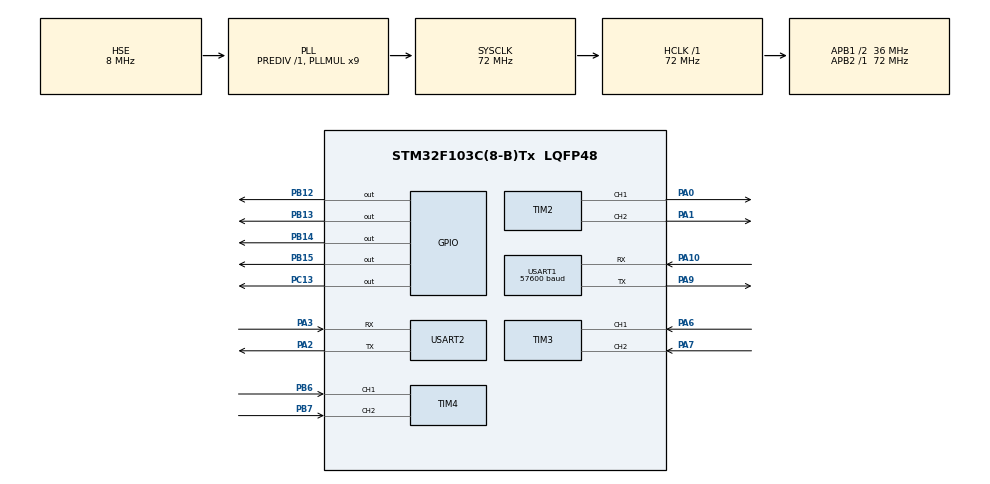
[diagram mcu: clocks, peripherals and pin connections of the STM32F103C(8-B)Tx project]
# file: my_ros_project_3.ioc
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Dma.Request0=USART1_RX
Dma.Request1=USART1_TX
Dma.USART1_RX.0.Direction=DMA_PERIPH_TO_MEMORY
Dma.USART1_RX.0.Instance=DMA1_Channel5
Dma.USART1_RX.0.MemDataAlignment=DMA_MDATAALIGN_BYTE
Dma.USART1_RX.0.MemInc=DMA_MINC_ENABLE
Dma.USART1_RX.0.Mode=DMA_NORMAL
Dma.USART1_RX.0.PeriphDataAlignment=DMA_PDATAALIGN_BYTE
Dma.USART1_RX.0.PeriphInc=DMA_PINC_DISABLE
Dma.USART1_RX.0.Priority=DMA_PRIORITY_LOW
Dma.USART1_TX.1.Direction=DMA_MEMORY_TO_PERIPH
Dma.USART1_TX.1.Instance=DMA1_Channel4
Dma.USART1_TX.1.MemDataAlignment=DMA_MDATAALIGN_BYTE
Dma.USART1_TX.1.MemInc=DMA_MINC_ENABLE
Dma.USART1_TX.1.Mode=DMA_NORMAL
Dma.USART1_TX.1.PeriphDataAlignment=DMA_PDATAALIGN_BYTE
Dma.USART1_TX.1.PeriphInc=DMA_PINC_DISABLE
Dma.USART1_TX.1.Priority=DMA_PRIORITY_LOW
FREERTOS.Tasks01=defaultROSTask,0,128,StartDefaultTask,Default,NULL,Dynamic,NULL,NULL
FREERTOS.Timers01=myPIDTimer01,Callback01,osTimerPeriodic,Default,NULL,Dynamic,NULL;myROSTimer02,Callback02,osTimerPeriodic,Default,NULL,Dynamic,NULL
FREERTOS.configTIMER_TASK_PRIORITY=6
FREERTOS.configUSE_NEWLIB_REENTRANT=0
FREERTOS.configUSE_TIMERS=1
Mcu.Family=STM32F1
Mcu.Name=STM32F103C(8-B)Tx
Mcu.Package=LQFP48
NVIC.DMA1_Channel4_IRQn=true\:5\:0\:false\:false\:true\:true\:false\:true\:true
NVIC.DMA1_Channel5_IRQn=true\:5\:0\:false\:false\:true\:true\:false\:true\:true
NVIC.PriorityGroup=NVIC_PRIORITYGROUP_4
NVIC.TIM1_UP_IRQn=true\:15\:0\:false\:false\:true\:false\:false\:true\:true
NVIC.TimeBase=TIM1_UP_IRQn
NVIC.TimeBaseIP=TIM1
NVIC.USART1_IRQn=true\:5\:0\:false\:false\:true\:true\:true\:true\:true
PA0-WKUP.Signal=S_TIM2_CH1_ETR
PA1.Signal=S_TIM2_CH2
PA10.Mode=Asynchronous
PA10.Signal=USART1_RX
PA13.Mode=Serial_Wire
PA13.Signal=SYS_JTMS-SWDIO
PA14.Mode=Serial_Wire
PA14.Signal=SYS_JTCK-SWCLK
PA2.Mode=Asynchronous
PA2.Signal=USART2_TX
PA3.Mode=Asynchronous
PA3.Signal=USART2_RX
PA6.Signal=S_TIM3_CH1
PA7.Signal=S_TIM3_CH2
PA9.Mode=Asynchronous
PA9.Signal=USART1_TX
PB12.Signal=GPIO_Output
PB13.Signal=GPIO_Output
PB14.Signal=GPIO_Output
PB15.Signal=GPIO_Output
PB6.Signal=S_TIM4_CH1
PB7.Signal=S_TIM4_CH2
PC13-TAMPER-RTC.Signal=GPIO_Output
PD0-OSC_IN.Mode=HSE-External-Oscillator
PD0-OSC_IN.Signal=RCC_OSC_IN
PD1-OSC_OUT.Mode=HSE-External-Oscillator
PD1-OSC_OUT.Signal=RCC_OSC_OUT
ProjectManager.HeapSize=0x200
ProjectManager.StackSize=0x400
ProjectManager.TargetToolchain=STM32CubeIDE
RCC.AHBFreq_Value=72000000
RCC.APB1CLKDivider=RCC_HCLK_DIV2
RCC.APB1Freq_Value=36000000
RCC.APB1TimFreq_Value=72000000
RCC.APB2Freq_Value=72000000
RCC.APB2TimFreq_Value=72000000
RCC.HCLKFreq_Value=72000000
RCC.PLLMUL=RCC_PLL_MUL9
RCC.PLLSourceVirtual=RCC_PLLSOURCE_HSE
RCC.SYSCLKFreq_VALUE=72000000
RCC.SYSCLKSource=RCC_SYSCLKSOURCE_PLLCLK
RCC.USBFreq_Value=72000000
SH.S_TIM2_CH1_ETR.0=TIM2_CH1,PWM Generation1 CH1
SH.S_TIM2_CH2.0=TIM2_CH2,PWM Generation2 CH2
SH.S_TIM3_CH1.0=TIM3_CH1,Encoder_Interface
SH.S_TIM3_CH2.0=TIM3_CH2,Encoder_Interface
SH.S_TIM4_CH1.0=TIM4_CH1,Encoder_Interface
SH.S_TIM4_CH2.0=TIM4_CH2,Encoder_Interface
TIM2.Channel-PWM\ Generation1\ CH1=TIM_CHANNEL_1
TIM2.Channel-PWM\ Generation2\ CH2=TIM_CHANNEL_2
USART1.BaudRate=57600
USART1.VirtualMode=VM_ASYNC
USART2.VirtualMode=VM_ASYNC
VP_FREERTOS_VS_CMSIS_V1.Mode=CMSIS_V1
VP_SYS_VS_tim1.Mode=TIM1
board=custom

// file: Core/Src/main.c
/* USER CODE BEGIN Header */
/**
  ******************************************************************************
  * @file           : main.c
  * @brief          : Main program body
  ******************************************************************************
  * @attention
  *
  * Copyright (c) 2024 STMicroelectronics.
  * All rights reserved.
  *
  * This software is licensed under terms that can be found in the LICENSE file
  * in the root directory of this software component.
  * If no LICENSE file comes with this software, it is provided AS-IS.
  *
  ******************************************************************************
  */
/* USER CODE END Header */
#include "main.h"
#include "cmsis_os.h"
#include "dma.h"
#include "tim.h"
#include "usart.h"
#include "gpio.h"

/* USER CODE BEGIN Includes */
#include "mainpp.h"
#include "../../ECUAL/motor_driver/motor_driver.h"
#include "../../ECUAL/motor_speed/motor_speed.h"
#include "../../ECUAL/pid/pid_v1.h"
/* USER CODE END Includes */

/* USER CODE BEGIN PD */

/* Define PID parameters */
#define KP 1
#define KI 3
#define KD 0.0001
#define DT 0.01

/* Define PWM limits */
#define PWM_MAX 1024
#define PWM_MIN -1024
#define PWM_STOP 0.3f

/* Define Filter parameters */
#define FILTER_LENGTH 100

/* Define motor dynamic parameters*/
#define WHEEL_DIAMETER 0.060
#define ENCODER_RESOLUTION 11
#define MOTOR_GEAR_RATIO 45

/* USER CODE END PD */

/* USER CODE BEGIN PV */

/* Define motor instances */
Motor motor1 = {.port = GPIOB, .pin_f = GPIO_PIN_13, .pin_b = GPIO_PIN_12, .timer = &htim2, .channel = TIM_CHANNEL_1};
Motor motor2 = {.port = GPIOB, .pin_f = GPIO_PIN_15, .pin_b = GPIO_PIN_14, .timer = &htim2, .channel = TIM_CHANNEL_2};

/* Define motor dynamics */
MotorDynamics left_motor_dynamics ;
MotorDynamics right_motor_dynamics ;

/* Define average filters for motor Dynamics*/
AverageFilter leftMotorAverageFilter;
AverageFilter rightMotorAverageFilter;

/* Define PID controllers for motors */
PIDController pid_controller_left_motor;
PIDController pid_controller_right_motor;

/* Define variables to interact wilt ROS loop */
volatile uint8_t command = 0;
volatile double left_vel = 0;
volatile double right_vel = 0;

extern TIM_HandleTypeDef htim3;
extern TIM_HandleTypeDef htim4;

/* USER CODE END PV */

void SystemClock_Config(void);
void MX_FREERTOS_Init(void);

int main(void)
{

  /* MCU Configuration--------------------------------------------------------*/

  /* Reset of all peripherals, Initializes the Flash interface and the Systick. */
  HAL_Init();

  /* Configure the system clock */
  SystemClock_Config();

  /* Initialize all configured peripherals */
  MX_GPIO_Init();
  MX_DMA_Init();
  MX_USART1_UART_Init();
  MX_TIM2_Init();
  MX_TIM3_Init();
  MX_TIM4_Init();
  MX_USART2_UART_Init();
  /* USER CODE BEGIN 2 */

  /* Initialize filters */
  init_filter(&leftMotorAverageFilter, FILTER_LENGTH);
  init_filter(&rightMotorAverageFilter, FILTER_LENGTH);

  /* Initialize PID loops */
  PID_Init(&pid_controller_left_motor,KP,KI,KD,DT,PWM_MIN,PWM_MAX);
  PID_Init(&pid_controller_right_motor,KP,KI,KD,DT,PWM_MIN,PWM_MAX);

  /* Initialize motor dynamics */
  init_motor_dynamics(&left_motor_dynamics, WHEEL_DIAMETER, MOTOR_GEAR_RATIO, ENCODER_RESOLUTION, &leftMotorAverageFilter, &htim3);
  init_motor_dynamics(&right_motor_dynamics, WHEEL_DIAMETER, MOTOR_GEAR_RATIO, ENCODER_RESOLUTION, &rightMotorAverageFilter, &htim4);

  /* Enable motors */
  enable_motor(&motor1);
  enable_motor(&motor2);

  /* Start encoders */
  HAL_TIM_Encoder_Start(&htim3, TIM_CHANNEL_ALL);
  HAL_TIM_Encoder_Start(&htim4, TIM_CHANNEL_ALL);

  /* Setup ROS event loop */
  setup();

  /* USER CODE END 2 */

  /* Call init function for freertos objects (in cmsis_os2.c) */
  MX_FREERTOS_Init();

  /* Start scheduler */
  osKernelStart();

  /* We should never get here as control is now taken by the scheduler */

  /* Infinite loop */
  while (1)
  {

  }
}

void SystemClock_Config(void)
{
  RCC_OscInitTypeDef RCC_OscInitStruct = {0};
  RCC_ClkInitTypeDef RCC_ClkInitStruct = {0};

  /** Initializes the RCC Oscillators according to the specified parameters
  * in the RCC_OscInitTypeDef structure.
  */
  RCC_OscInitStruct.OscillatorType = RCC_OSCILLATORTYPE_HSE;
  RCC_OscInitStruct.HSEState = RCC_HSE_ON;
  RCC_OscInitStruct.HSEPredivValue = RCC_HSE_PREDIV_DIV1;
  RCC_OscInitStruct.HSIState = RCC_HSI_ON;
  RCC_OscInitStruct.PLL.PLLState = RCC_PLL_ON;
  RCC_OscInitStruct.PLL.PLLSource = RCC_PLLSOURCE_HSE;
  RCC_OscInitStruct.PLL.PLLMUL = RCC_PLL_MUL9;
  if (HAL_RCC_OscConfig(&RCC_OscInitStruct) != HAL_OK)
  {
    Error_Handler();
  }

  /** Initializes the CPU, AHB and APB buses clocks
  */
  RCC_ClkInitStruct.ClockType = RCC_CLOCKTYPE_HCLK|RCC_CLOCKTYPE_SYSCLK
                              |RCC_CLOCKTYPE_PCLK1|RCC_CLOCKTYPE_PCLK2;
  RCC_ClkInitStruct.SYSCLKSource = RCC_SYSCLKSOURCE_PLLCLK;
  RCC_ClkInitStruct.AHBCLKDivider = RCC_SYSCLK_DIV1;
  RCC_ClkInitStruct.APB1CLKDivider = RCC_HCLK_DIV2;
  RCC_ClkInitStruct.APB2CLKDivider = RCC_HCLK_DIV1;

  if (HAL_RCC_ClockConfig(&RCC_ClkInitStruct, FLASH_LATENCY_2) != HAL_OK)
  {
    Error_Handler();
  }
}

void HAL_TIM_PeriodElapsedCallback(TIM_HandleTypeDef *htim)
{
  if (htim->Instance == TIM1) {
    HAL_IncTick();
  }
}

void Error_Handler(void)
{
  __disable_irq();
  while (1)
  {
  }
}

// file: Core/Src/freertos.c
/* USER CODE BEGIN Header */
/**
  ******************************************************************************
  * File Name          : freertos.c
  * Description        : Code for freertos applications
  ******************************************************************************
  * @attention
  *
  * Copyright (c) 2024 STMicroelectronics.
  * All rights reserved.
  *
  * This software is licensed under terms that can be found in the LICENSE file
  * in the root directory of this software component.
  * If no LICENSE file comes with this software, it is provided AS-IS.
  *
  ******************************************************************************
  */
/* USER CODE END Header */

#include "FreeRTOS.h"
#include "task.h"
#include "main.h"
#include "cmsis_os.h"

/* USER CODE BEGIN Includes */
#include "mainpp.h"
#include "../../ECUAL/motor_driver/motor_driver.h"
#include "../../ECUAL/motor_speed/motor_speed.h"
#include "../../ECUAL/pid/pid_v1.h"
/* USER CODE END Includes */

/* USER CODE BEGIN PD */
#define ROS_LOOP_PERIOD_MS 100
#define PID_LOOP_PERIOD_MS 10
/* USER CODE END PD */

/* USER CODE BEGIN PM */
enum  robot_action {
 ROBOT_STOP = 0,
 ROBOT_MOVE  = 1
};
/* USER CODE END PM */

/* USER CODE BEGIN Variables */
extern PIDController pid_controller_left_motor;
extern PIDController pid_controller_right_motor;

extern MotorDynamics left_motor_dynamics ;
extern MotorDynamics right_motor_dynamics ;

extern Motor motor1;
extern Motor motor2;

extern volatile uint8_t command;
extern volatile double left_vel;
extern volatile double right_vel;

extern volatile double real_left_vel;
extern volatile double real_right_vel;

/* USER CODE END Variables */
osThreadId defaultROSTaskHandle;
osTimerId myPIDTimer01Handle;
osTimerId myROSTimer02Handle;

void StartDefaultTask(void const * argument);
void Callback01(void const * argument);
void Callback02(void const * argument);

void MX_FREERTOS_Init(void); /* (MISRA C 2004 rule 8.1) */

/* GetIdleTaskMemory prototype (linked to static allocation support) */
void vApplicationGetIdleTaskMemory( StaticTask_t **ppxIdleTaskTCBBuffer, StackType_t **ppxIdleTaskStackBuffer, uint32_t *pulIdleTaskStackSize );

/* GetTimerTaskMemory prototype (linked to static allocation support) */
void vApplicationGetTimerTaskMemory( StaticTask_t **ppxTimerTaskTCBBuffer, StackType_t **ppxTimerTaskStackBuffer, uint32_t *pulTimerTaskStackSize );

/* USER CODE BEGIN GET_IDLE_TASK_MEMORY */
static StaticTask_t xIdleTaskTCBBuffer;
static StackType_t xIdleStack[configMINIMAL_STACK_SIZE];

void vApplicationGetIdleTaskMemory( StaticTask_t **ppxIdleTaskTCBBuffer, StackType_t **ppxIdleTaskStackBuffer, uint32_t *pulIdleTaskStackSize )
{
  *ppxIdleTaskTCBBuffer = &xIdleTaskTCBBuffer;
  *ppxIdleTaskStackBuffer = &xIdleStack[0];
  *pulIdleTaskStackSize = configMINIMAL_STACK_SIZE;
  /* place for user code */
}
/* USER CODE END GET_IDLE_TASK_MEMORY */

/* USER CODE BEGIN GET_TIMER_TASK_MEMORY */
static StaticTask_t xTimerTaskTCBBuffer;
static StackType_t xTimerStack[configTIMER_TASK_STACK_DEPTH];

void vApplicationGetTimerTaskMemory( StaticTask_t **ppxTimerTaskTCBBuffer, StackType_t **ppxTimerTaskStackBuffer, uint32_t *pulTimerTaskStackSize )
{
  *ppxTimerTaskTCBBuffer = &xTimerTaskTCBBuffer;
  *ppxTimerTaskStackBuffer = &xTimerStack[0];
  *pulTimerTaskStackSize = configTIMER_TASK_STACK_DEPTH;
  /* place for user code */
}
/* USER CODE END GET_TIMER_TASK_MEMORY */

void MX_FREERTOS_Init(void) {

  /* Create the timer(s) */
  /* definition and creation of myPIDTimer01 */
  osTimerDef(myPIDTimer01, Callback01);
  myPIDTimer01Handle = osTimerCreate(osTimer(myPIDTimer01), osTimerPeriodic, NULL);

  /* definition and creation of myROSTimer02 */
  osTimerDef(myROSTimer02, Callback02);
  myROSTimer02Handle = osTimerCreate(osTimer(myROSTimer02), osTimerPeriodic, NULL);

  /* Create the thread(s) */
  /* definition and creation of defaultROSTask */
  osThreadDef(defaultROSTask, StartDefaultTask, osPriorityNormal, 0, 128);
  defaultROSTaskHandle = osThreadCreate(osThread(defaultROSTask), NULL);

}

void StartDefaultTask(void const * argument)
{
  /* USER CODE BEGIN StartDefaultTask */

	/* Start Timers for both loops */
	osTimerStart (myPIDTimer01Handle,PID_LOOP_PERIOD_MS );
	osTimerStart (myROSTimer02Handle,ROS_LOOP_PERIOD_MS );

  /* Infinite loop */
  for(;;)
  {
	  osDelay(1);
  }
  /* USER CODE END StartDefaultTask */
}

/* Callback01 function */
void Callback01(void const * argument)
{
  /* USER CODE BEGIN Callback01 */

	/* update encoder count */
	update_encoder_count_per_sampling_period(&left_motor_dynamics);
	update_encoder_count_per_sampling_period(&right_motor_dynamics);

	/* update target motor velocities count */
	pid_controller_left_motor.target_value = left_vel;
	pid_controller_right_motor.target_value = right_vel;

	/* Update real time velocities */
	real_left_vel = get_speed_rpm(&left_motor_dynamics);
	real_right_vel = get_speed_rpm(&right_motor_dynamics);

	/* Robot moving command */
	if(command == ROBOT_MOVE)
	{
		/* Calculate PID outputs and control motors */
		pid_controller_left_motor.current_value = get_speed_count(&left_motor_dynamics);
		pid_controller_right_motor.current_value = get_speed_count(&right_motor_dynamics);

		PID_calculate(&pid_controller_left_motor);
		PID_calculate(&pid_controller_right_motor);

		motor_run(&motor2,pid_controller_left_motor.output/1024.0); /* PWM is range from 0 - 1 ,PID output range from  0 -1024 */
		motor_run(&motor1,pid_controller_right_motor.output/1024.0); /* PWM is range from 0 - 1 ,PID output range from  0 -1024 */
	}
	else
	{
		/* stop motors */
		motor_stop(&motor2);
		motor_stop(&motor1);
		PID_reset(&pid_controller_right_motor);
		PID_reset(&pid_controller_left_motor);
	}

  /* USER CODE END Callback01 */
}

/* Callback02 function */
void Callback02(void const * argument)
{
  /* USER CODE BEGIN Callback02 */
	loop();
  /* USER CODE END Callback02 */
}
